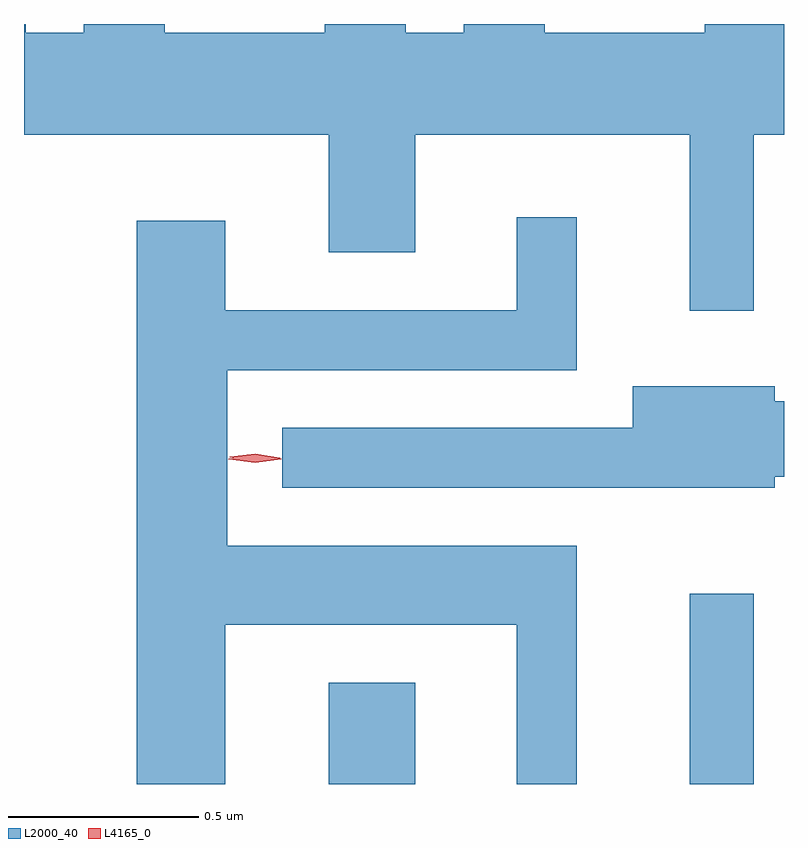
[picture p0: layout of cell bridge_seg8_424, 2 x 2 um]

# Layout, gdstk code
import gdstk
lib = gdstk.Library(unit=1e-6, precision=1e-09)
def R(c, l, rs):  # rectangles x0, y0, x1, y1
    for r in rs: c.add(gdstk.rectangle(r[:2], r[2:], *l))
def P(c, l, *ps):  # polygons
    for p in ps: c.add(gdstk.Polygon(p, *l))
L2000_40 = (2000, 40)
L4165_0 = (4165, 0)

bridge_seg8_424 = lib.new_cell('bridge_seg8_424')
R(bridge_seg8_424, L2000_40, [(818.161,1816.947,818.389,1817.214), (819.111,1816.947,819.279,1817.448)])
P(bridge_seg8_424, L2000_40, [(819.279,1818.656),(819.359,1818.656),(819.359,1818.947),(819.151,1818.947),(819.151,1818.924),(818.729,1818.924),(818.729,1818.947),(818.516,1818.947),(818.516,1818.924),(818.364,1818.924),(818.364,1818.947),(818.151,1818.947),(818.151,1818.924),(817.729,1818.924),(817.729,1818.947),(817.516,1818.947),(817.516,1818.924),(817.364,1818.924),(817.364,1818.947),(817.359,1818.947),(817.359,1818.656),(818.161,1818.656),(818.161,1818.346),(818.389,1818.346),(818.389,1818.656),(819.111,1818.656),(819.111,1818.193),(819.279,1818.193)],
  [(817.889,1817.366),(818.656,1817.366),(818.656,1816.947),(818.814,1816.947),(818.814,1817.574),(817.894,1817.574),(817.894,1818.036),(818.814,1818.036),(818.814,1818.438),(818.656,1818.438),(818.656,1818.194),(817.889,1818.194),(817.889,1818.429),(817.656,1818.429),(817.656,1816.947),(817.889,1816.947)],
  [(819.334,1817.756),(819.359,1817.756),(819.359,1817.954),(819.334,1817.954),(819.334,1817.994),(818.961,1817.994),(818.961,1817.884),(818.038,1817.884),(818.038,1817.726),(819.334,1817.726)])
P(bridge_seg8_424, L4165_0, [(817.967,1817.792),(817.898,1817.802),(817.897,1817.802),(817.898,1817.803),(817.967,1817.812),(818.036,1817.803),(818.036,1817.802),(818.036,1817.802)],
  [(817.966,1817.796),(817.901,1817.807),(817.9,1817.807),(817.901,1817.808),(817.967,1817.816),(818.032,1817.805),(818.033,1817.805),(818.032,1817.804)])

lib.write_gds('bridge_seg8_424.gds')
